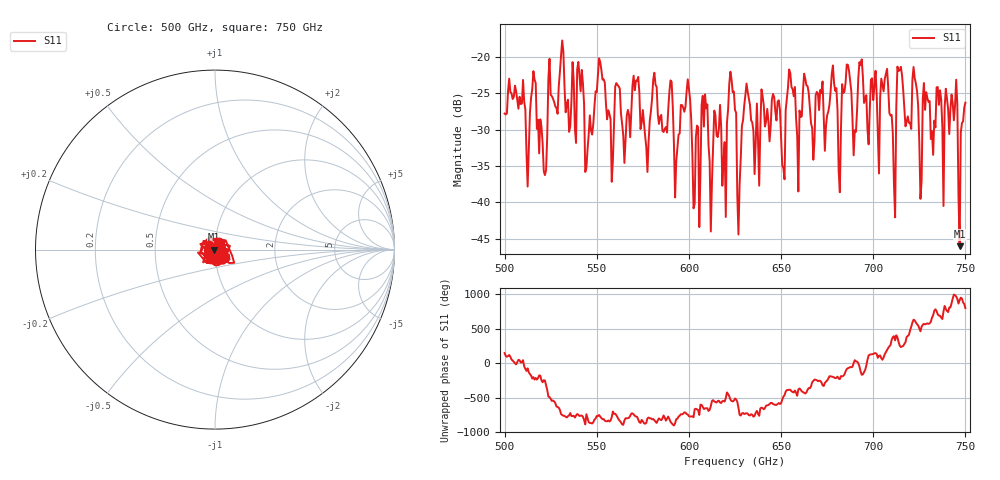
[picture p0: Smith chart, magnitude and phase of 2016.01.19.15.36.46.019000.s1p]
!Created with skrf (http://scikit-rf.org).
# GHz S RI R 50.0
!freq ReS11 ImS11
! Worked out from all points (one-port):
!   401 points, 500 GHz to 750 GHz, reference 50 ohm
!   lowest |S11| = -46.0 dB at 746.9 GHz (marker M1), VSWR 1.01, Z = 49.5 - j0.105 ohm
!   |S11| at or under -10 dB: start of sweep to end of sweep
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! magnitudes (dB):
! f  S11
! 500 GHz  -27.8
! 512.5 GHz  -37.8
! 515.6 GHz  -22.0
! 521.9 GHz  -36.2
! 531.2 GHz  -17.7
! 545 GHz  -32.7
! 551.9 GHz  -20.7
! 558.1 GHz  -37.2
! 562.5 GHz  -24.4
! 590 GHz  -23.2
! 593.8 GHz  -32.5
! 599.4 GHz  -23.1
! 603.1 GHz  -40.2
! 608.1 GHz  -29.6
! 611.9 GHz  -44.0
! 625 GHz  -27.3
! 627.5 GHz  -37.5
! 631.2 GHz  -23.7
! 651.2 GHz  -35.3
! 656.2 GHz  -24.4
! 659.4 GHz  -38.5
! 678.8 GHz  -23.6
! 681.2 GHz  -35.8
! 687.5 GHz  -23.3
! 718.8 GHz  -28.2
! 743.8 GHz  -28.7
! 746.9 GHz  -46.0
! 750 GHz  -26.3
